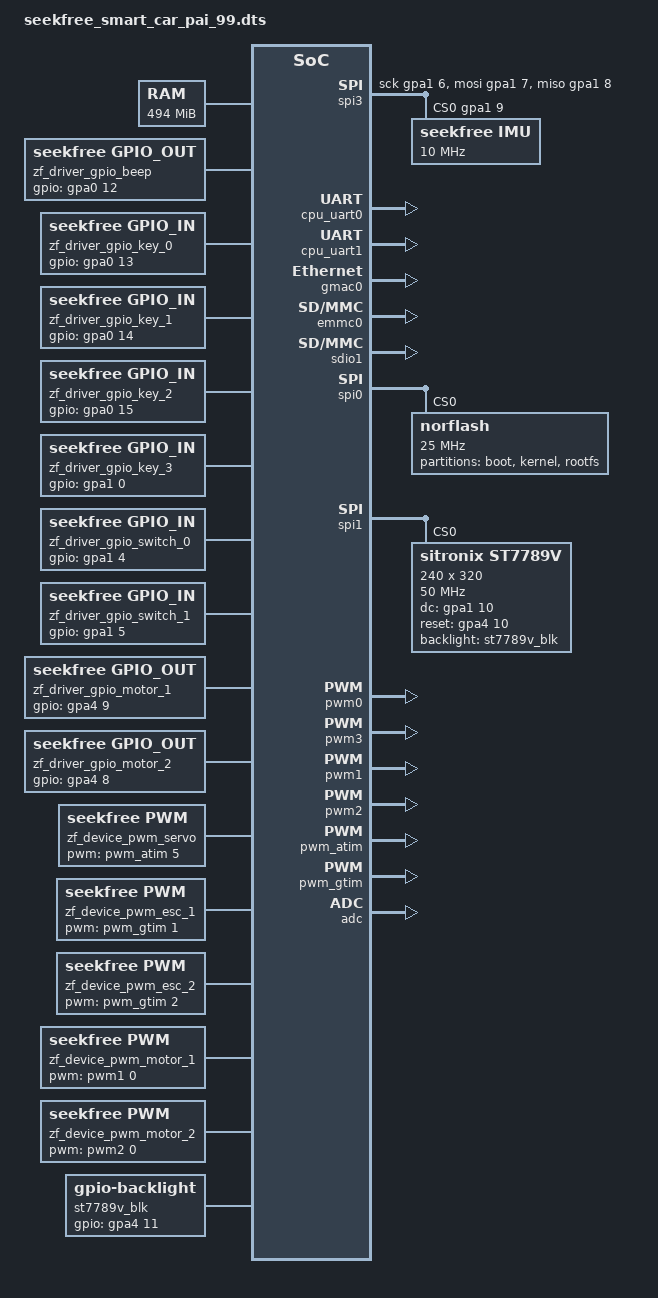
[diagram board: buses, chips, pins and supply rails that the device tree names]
#include "loongson_2k0300.dtsi"

/ {
    memory {
        name = "memory";
        device_type = "memory";
        reg =  <0 0x00200000 0 0x0ee00000
             0 0x90000000 0 0x10000000>;
    };

    // ----------蜂鸣器---------- //
    zf_driver_gpio_beep{
        status = "okay";
        compatible = "seekfree,gpio_out";
        gpios = <&gpa0 12 GPIO_ACTIVE_HIGH>;
	};
    // ----------蜂鸣器---------- //

    // ----------按键---------- //
    zf_driver_gpio_key_0{
        status = "okay";
        compatible = "seekfree,gpio_in";
        gpios = <&gpa0 13 GPIO_ACTIVE_HIGH>;
	};

    zf_driver_gpio_key_1{
        status = "okay";
        compatible = "seekfree,gpio_in";
        gpios = <&gpa0 14 GPIO_ACTIVE_HIGH>;
	};

    zf_driver_gpio_key_2{
        status = "okay";
        compatible = "seekfree,gpio_in";
        gpios = <&gpa0 15 GPIO_ACTIVE_HIGH>;
	};

    zf_driver_gpio_key_3{
        status = "okay";
        compatible = "seekfree,gpio_in";
        gpios = <&gpa1 0 GPIO_ACTIVE_HIGH>;
	};
    // ----------按键---------- //

    // ----------拨码开关---------- //
    zf_driver_gpio_switch_0{
        status = "okay";
        compatible = "seekfree,gpio_in";
        gpios = <&gpa1 4 GPIO_ACTIVE_HIGH>;
	};

    zf_driver_gpio_switch_1{
        status = "okay";
        compatible = "seekfree,gpio_in";
        gpios = <&gpa1 5 GPIO_ACTIVE_HIGH>;
	};
    // ----------拨码开关---------- //

    // ----------电机方向引脚---------- //
    // 电机2方向引脚
    // DIR1->GPIO73
    // PWM1->GPIO65
    zf_driver_gpio_motor_1{
        status = "okay";
        compatible = "seekfree,gpio_out";
        gpios = <&gpa4 9 GPIO_ACTIVE_HIGH>;
	};


    // 电机2方向引脚
    // DIR->GPIO72
    // PWM2->GPIO66
    zf_driver_gpio_motor_2{
        status = "okay";
        compatible = "seekfree,gpio_out";
        gpios = <&gpa4 8 GPIO_ACTIVE_HIGH>;
	};
    // ----------电机方向引脚---------- //


    // ----------姿态传感器---------- //
    spi3 {
        status = "okay";
        compatible = "spi-gpio";

        gpio-sck  = <&gpa1 6 GPIO_ACTIVE_HIGH>;     // GPIO22 
        gpio-mosi = <&gpa1 7 GPIO_ACTIVE_HIGH>;     // GPIO23
		gpio-miso = <&gpa1 8 GPIO_ACTIVE_HIGH>;     // GPIO24 
		cs-gpios  = <&gpa1 9 GPIO_ACTIVE_HIGH>;     // GPIO25 

        #address-cells = <1>;
		#size-cells = <0>;
		num-chipselects = <1>;

        imu: imu@0 {
            status = "okay";
            gpio-controller;
		    compatible = "seekfree,imu";    // 自动识别IMU660RA IMU660RB IMU963RA
            spi-max-frequency = <10000000>;
			reg = <0>;
		};

	};
    // ----------姿态传感器---------- //

    // ----------舵机PWM---------- //
    zf_device_pwm_servo{
        compatible = "seekfree,pwm";
        pwms = <&pwm_atim 5 1000000>;   // pwm_atim 通道5 周期(用户不需要关心) (0-6 一共7个通道)
        status = "okay";
        freq = <300>;                   // 300HZ 频率
        duty = <0>;                     // 默认 0% 的占空比
        duty_max = <10000>;             // duty最大值，不建议修改。
    };
    // ----------舵机PWM---------- //

    // ----------电调PWM---------- //
    zf_device_pwm_esc_1{
        compatible = "seekfree,pwm";
        pwms = <&pwm_gtim 1 1000000>;   // pwm_gtim 通道2 周期(用户不需要关心)
        status = "okay";
        freq = <50>;                    // 50HZ 频率
        duty = <0>;                     // 默认 0% 的占空比
        duty_max = <10000>;             // duty最大值，不建议修改。
    };

    zf_device_pwm_esc_2{
        compatible = "seekfree,pwm";
        pwms = <&pwm_gtim 2 1000000>;   // pwm_gtim 通道3 周期(用户不需要关心)
        status = "okay";
        freq = <50>;                    // 50HZ 频率
        duty = <0>;                     // 默认 0% 的占空比
        duty_max = <10000>;             // duty最大值，不建议修改。
    };
    // ----------电调PWM---------- //

    // ----------电机PWM---------- //
    zf_device_pwm_motor_1{
        compatible = "seekfree,pwm";
        pwms = <&pwm1 0 1000000>;       // pwm1 通道0 周期(用户不需要关心)
        status = "okay";
        freq = <17000>;                 // 17KHZ 频率
        duty = <0>;                     // 默认 0% 的占空比
        duty_max = <10000>;             // duty最大值，不建议修改。
    };

    zf_device_pwm_motor_2{
        compatible = "seekfree,pwm";
        pwms = <&pwm2 0 1000000>;       // pwm2 通道0 周期(用户不需要关心)
        status = "okay";
        freq = <17000>;                 // 17KHZ 频率
        duty = <0>;                     // 默认 0% 的占空比
        duty_max = <10000>;             // duty最大值，不建议修改。
    };
    // ----------电机PWM---------- //  

    // ----------屏幕背光引脚---------- //
    st7789v_blk: st7789v-blk 
    {
        compatible = "gpio-backlight";
        status = "okay";
        gpios = <&gpa4 11 GPIO_ACTIVE_HIGH>;        // GPIO75背光引脚
        default-on;
    };
    // ----------屏幕背光引脚---------- //
};


&cpu_uart0{
    status = "okay";
    pinctrl-names = "default";
    pinctrl-0 = <&uart0_2bit_m0>;
    auto-flow-control = <1>;
};

&cpu_uart1{
    status = "okay";
    pinctrl-names = "default";
    pinctrl-0 = <&uart1_2bit_m0>;
    auto-flow-control = <1>;
};

&gmac0{
    status = "okay";
    pinctrl-names = "default";
    pinctrl-0 = <&gmac0_12bit_f0>, <&gmac0_12bit_f1>;
};

&emmc0{
    status = "okay";
    pinctrl-names = "default";
    pinctrl-0 = <&sdio0_pin_f0>, <&sdio0_pin_f1>;
};
&sdio1{
    status = "okay";
    pinctrl-names = "default";
    pinctrl-0 = <&sdio1_6bit>;
};

// norflash驱动
&spi0{
    status = "okay";
    pinctrl-names = "default";
    pinctrl-0 = <&spi0_6bit_f0>,<&spi0_6bit_f1>;

    norflash@0 {
       reg = <0>;
       spi-rx-bus-width = <4>;
       spi-max-frequency = <25000000>;
       #address-cells = <1>;
       #size-cells = <1>;
       partitions {
           compatible = "fixed-partitions";
           #address-cells = <1>;
           #size-cells = <1>;

           boot@0 {
               label = "boot";
               reg = <0x0000000 0x100000>;
               /*read-only;*/
           };

           kernel@100000 {
               label = "kernel";
               reg = <0x100000 0x600000>;
           };

           rootfs@700000 {
               label = "rootfs";
               reg = <0x700000 0x1000000>;
           };
       };

    };
};


// ----------IPS200屏幕---------- //
// 目前只支持IPS200的SPI屏幕。
// 不支持其他屏幕。
&spi1{
    status = "okay";
    pinctrl-names = "default";
    pinctrl-0 = <&spi1_4bit>;

    st7789v:st7789v@0{
        status = "okay";
        compatible = "sitronix,st7789v";
        reg = <0>;              //chip select 0:cs0  1:cs1

        spi-max-frequency =<50000000>;
        spi-cpol;
        spi-cpha;
        rgb;
        rotate = <0>;           // 旋转方向 0 90 180 270
        buswidth = <8>;
        fps = <30>;             // 帧率
        
        dc-gpios = <&gpa1 10 GPIO_ACTIVE_HIGH>;     // GPIO26
        reset-gpios = <&gpa4 10 GPIO_ACTIVE_HIGH>;  // GPIO74
        backlight = <&st7789v_blk>;

        width = <240>;     
        height= <320>;      

        debug = <0x0>;
    };
};
// ----------IPS200屏幕---------- //

// ----------带方向编码器配置---------- //
// 编码器1
// PWM0 GPIO64
&pwm0{
    status = "okay";
    pinctrl-names = "default";
    pinctrl-0 = <&pwm0_mux_m0>;
    clock-frequency = <100000000>;                  // 10ns计数一次, 100MHZ的采样频率
    compatible = "seekfree,encoder";
    encoder-dir-gpio = <&gpa3 3 GPIO_ACTIVE_HIGH>;  // GPIO051
    dev-name = "zf_encoder_1";
};


// 编码器2
// PWM3 GPIO67
&pwm3{
    status = "okay";
    pinctrl-names = "default";
    pinctrl-0 = <&pwm3_mux_m0>;
    clock-frequency = <100000000>;                  // 10ns计数一次, 100MHZ的采样频率
    reg = <0 0x1611b030 0 0x10>;
    compatible = "seekfree,encoder";
    encoder-dir-gpio = <&gpa3 2 GPIO_ACTIVE_HIGH>;  // GPIO050
    dev-name = "zf_encoder_2";
};
// ----------带方向编码器配置---------- //

// ----------电机PWM配置---------- //
// PWM1 GPIO65 
// PWM GPIO065  pwm[1]
// DIR GPIO073
&pwm1{
    status = "okay";
    pinctrl-names = "default";
    pinctrl-0 = <&pwm1_mux_m0>;
    clock-frequency = <100000000>;
    compatible = "loongson,ls300-pwm";
};

// PWM2 GPIO66
// PWM GPIO066  pwm[2]
// DIR GPIO072
&pwm2{
    status = "okay";
    pinctrl-names = "default";
    pinctrl-0 = <&pwm2_mux_m0>;
    clock-frequency = <100000000>;
    compatible = "loongson,ls300-pwm";
};
// ----------电机PWM配置---------- //


// ----------舵机PWM配置---------- //
//GPIO86 pwmchip2
&pwm_atim{
    status = "okay";
    compatible = "loongson,ls300-pwm-atim";
    pinctrl-names = "default";
    pinctrl-0 = <&atim_ch3n_pin_m1>;   
};
// ----------舵机PWM配置---------- //

// ----------电调PWM配置---------- //
//GPIO88 GPIO89 pwmchip6
&pwm_gtim{
    status = "okay";
    compatible = "loongson,ls300-pwm-gtim";
    pinctrl-names = "default";
    pinctrl-0 = <&gtim_ch2_pin_m1>, <&gtim_ch3_pin_m1>;  
};
// ----------电调PWM配置----------//

// ----------ADC配置----------//
&adc{
	status = "okay";
};
// ----------ADC配置----------//
